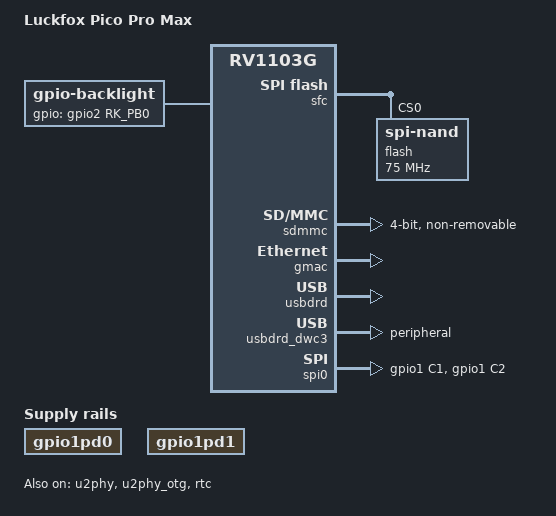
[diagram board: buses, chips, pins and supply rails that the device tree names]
// SPDX-License-Identifier: (GPL-2.0+ OR MIT)
/*
 * Copyright (c) 2022 Rockchip Electronics Co., Ltd.
 */

/dts-v1/;

#include "rv1106.dtsi"
#include "rv1106-evb.dtsi"
#include "rv1106-luckfox-pico-pro-max-ipc.dtsi"

/ {
	model = "Luckfox Pico Pro Max";
	compatible = "rockchip,rv1103g-38x38-ipc-v10", "rockchip,rv1106g3";
};

/**********CRU**********/
//&cru {
//	assigned-clocks =
//		<&cru PLL_GPLL>, <&cru PLL_CPLL>,
//		<&cru ARMCLK>,
//		<&cru ACLK_PERI_ROOT>, <&cru HCLK_PERI_ROOT>,
//		<&cru PCLK_PERI_ROOT>, <&cru ACLK_BUS_ROOT>,
//		<&cru PCLK_TOP_ROOT>, <&cru PCLK_PMU_ROOT>,
//		<&cru HCLK_PMU_ROOT>, <&cru CLK_500M_SRC>;
//	assigned-clock-rates =
//		<1188000000>, <700000000>,
//		<1104000000>,
//		<400000000>, <200000000>,
//		<100000000>, <300000000>,
//		<100000000>, <100000000>,
//		<200000000>, <700000000>;
//};

/**********NPU**********/
//&npu {
//	assigned-clock-rates = <700000000>;
//};

/**********FLASH**********/
&sfc {
	status = "okay";
	flash@0 {
		compatible = "spi-nand";
		reg = <0>;
		spi-max-frequency = <75000000>;
		spi-rx-bus-width = <4>;
		spi-tx-bus-width = <1>;
	};
};

/**********SDMMC**********/
&sdmmc {
	max-freqency = <50000000>;
	no-mmc;
	bus-width = <4>;
	cap-mmc-highspeed;
	cap-sd-highspeed;
	disable-wp;

	//sdio
	cap-sdio-irq;
	non-removable;
	no-1-8-v;
	supports-sdio;

	pinctrl-names = "default";
	pinctrl-0 = <&sdmmc0_clk &sdmmc0_cmd &sdmmc0_det &sdmmc0_bus4>;
	status = "okay";
};

/**********ETH**********/
&gmac {
	status = "okay";
};

/**********USB**********/
&u2phy {
	status = "okay";
};

&u2phy_otg {
	rockchip,dis-u2-susphy;
	status = "okay";
};

&usbdrd {
	status = "okay";
};

&usbdrd_dwc3 {
	status = "okay";
	dr_mode = "peripheral";
};

/**********SPI**********/
/**********spi**********/
/{
	/*LCD_CS -- USE MISO*/
    // gpio1pc3:gpio1pc3 {
    //     compatible = "regulator-fixed";
    //     pinctrl-names = "default";
    //     pinctrl-0 = <&gpio1_pc3>;
    //     regulator-name = "gpio1_pc3";
    //     regulator-always-on;
    // };
 
	/*LCD_BL */
	// gpio2pb0:gpio2pb0 {
	// 	// compatible = "regulator-fixed";
	// 	compatible = "gpio-backlight";
	// 	pinctrl-names = "default";
	// 	pinctrl-0 = <&gpio2_pb0>;
	// 	regulator-name = "gpio2_pb0";
	// 	// gpios = <&gpio2 RK_PB0 GPIO_ACTIVE_HIGH>;
	// 	regulator-always-on;
	/* 创建一个backlight 背光驱动 */
	backlight:backlight{		
		compatible = "gpio-backlight";
		pinctrl-names = "default";
		pinctrl-0 = <&gpio2_pb0>;
		gpios = <&gpio2 RK_PB0 GPIO_ACTIVE_HIGH>;
		default-on;
	};
 
	/*LCD_DC*/
    gpio1pd0:gpio1pd0 {
        compatible = "regulator-fixed";
        pinctrl-names = "default";
        pinctrl-0 = <&gpio1_pd0>;
        regulator-name = "gpio1_pd0";
        regulator-always-on;
    };
 
	/*LCD_RES*/
    gpio1pd1:gpio1pd1 {
        compatible = "regulator-fixed";
        pinctrl-names = "default";
        pinctrl-0 = <&gpio1_pd1>;
        regulator-name = "gpio1_pd1";
        regulator-always-on;
    };
};
 
&pinctrl {
 
 
	/*LCD_BL*/
	gpio2-pb0 {
		gpio2_pb0:gpio2-pb0 {
			rockchip,pins =	<2 RK_PB0 RK_FUNC_GPIO &pcfg_pull_none>;
		};
	};
 
	/*LCD_DC*/
    gpio1-pd0 {
        gpio1_pd0:gpio1-pd0 {
            rockchip,pins = <1 RK_PD0 RK_FUNC_GPIO &pcfg_pull_none>;
        };
    };
 
	/*LCD_RES*/
    gpio1-pd1 {
        gpio1_pd1:gpio1-pd1 {
            rockchip,pins = <1 RK_PD1 RK_FUNC_GPIO &pcfg_pull_none>;
        };
    };
 
    spi0 {
        /omit-if-no-ref/
        spi0m0_pins: spi0m0-pins {
            rockchip,pins =
                /* spi0_clk_m0 */
                <1 RK_PC1 4 &pcfg_pull_none>,
                /* spie_miso_m0 */
                /* <1 RK_PC3 6 &pcfg_pull_none>, */	// 先不动，还用uart4作为bl
                /* spi_mosi_m0 */
                <1 RK_PC2 6 &pcfg_pull_none>;
        };
    };
};
 
&spi0 {
	status = "okay";
	pinctrl-names = "default";
	// pinctrl-0 = <&spi0m0_pins>;		// 包含clk,mi,mo
	pinctrl-0 = <&spi0m0_cs0 &spi0m0_pins>;
	#address-cells = <1>;			
	#size-cells = <0>;				
	
	spidev@0 {						
		status = "disabled";
		compatible = "rockchip,spidev";
		spi-max-frequency = <1000000000>;
		reg = <0>;
	};
	
};

/**********I2C**********/
/* I2C3_M1 */
&i2c3 {
	status = "disabled";
	clock-frequency = <100000>;
};

/* I2C1_M1 */
&i2c1 {
	status = "disabled";
	clock-frequency = <100000>;
};


/**********UART**********/
/* UART3_M1 */
&uart3 {
	status = "disabled";
};

/* UART4_M1 */
&uart4 {
	status = "disabled";
};

/**********RTC**********/
&rtc {
	status = "okay";
};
